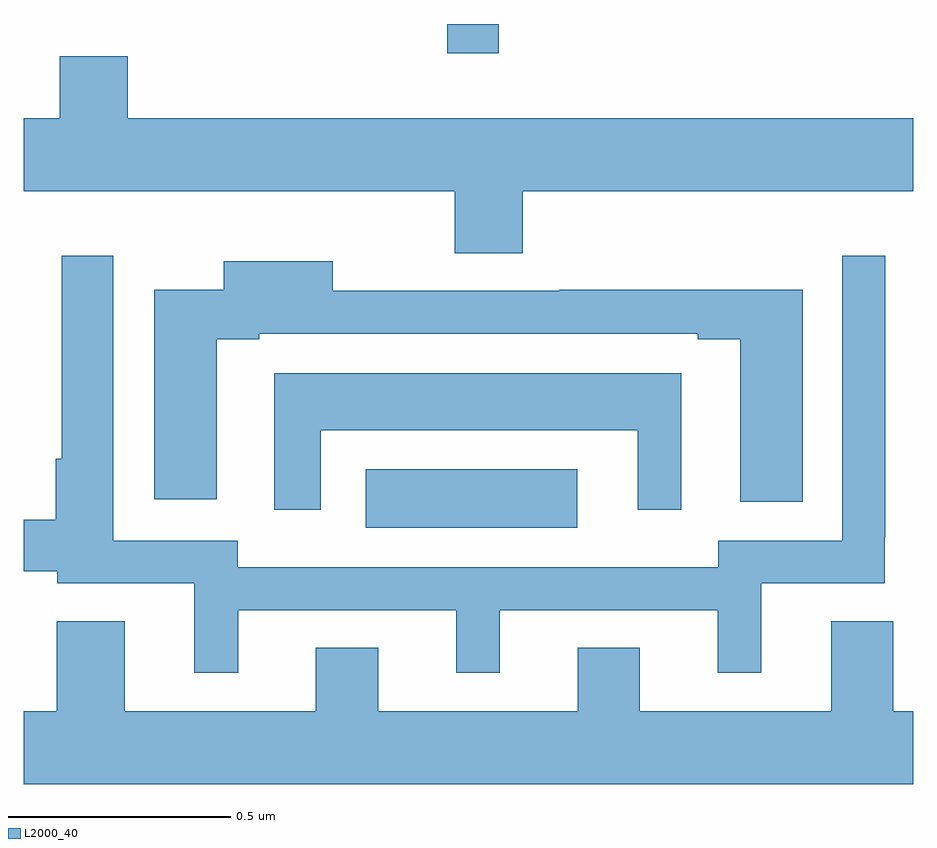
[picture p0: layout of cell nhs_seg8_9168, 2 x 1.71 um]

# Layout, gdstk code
import gdstk
lib = gdstk.Library(unit=1e-6, precision=1e-09)
def R(c, l, rs):  # rectangles x0, y0, x1, y1
    for r in rs: c.add(gdstk.rectangle(r[:2], r[2:], *l))
def P(c, l, *ps):  # polygons
    for p in ps: c.add(gdstk.Polygon(p, *l))
L2000_40 = (2000, 40)

nhs_seg8_9168 = lib.new_cell('nhs_seg8_9168')
R(nhs_seg8_9168, L2000_40, [(233.769,1091.768,234.244,1091.899), (233.952,1092.834,234.068,1092.9)])
P(nhs_seg8_9168, L2000_40, [(234.122,1092.524),(235,1092.524),(235,1092.688),(233.234,1092.688),(233.234,1092.827),(233.081,1092.827),(233.081,1092.688),(233,1092.688),(233,1092.524),(233.969,1092.524),(233.969,1092.385),(234.122,1092.385)],
  [(233.482,1091.583),(233.972,1091.583),(233.972,1091.442),(234.07,1091.442),(234.07,1091.583),(234.56,1091.583),(234.56,1091.442),(234.658,1091.442),(234.658,1091.643),(234.936,1091.643),(234.936,1091.746),(234.937,1091.746),(234.937,1092.379),(234.84,1092.379),(234.84,1091.739),(234.561,1091.739),(234.561,1091.679),(233.481,1091.679),(233.481,1091.739),(233.202,1091.739),(233.202,1092.379),(233.086,1092.379),(233.086,1091.923),(233.072,1091.923),(233.072,1091.786),(233,1091.786),(233,1091.67),(233.076,1091.67),(233.076,1091.643),(233.384,1091.643),(233.384,1091.442),(233.482,1091.442)],
  [(234.751,1092.303),(234.205,1092.303),(234.205,1092.3),(233.695,1092.3),(233.695,1092.367),(233.45,1092.367),(233.45,1092.303),(233.294,1092.303),(233.294,1091.832),(233.434,1091.832),(233.434,1092.192),(233.53,1092.192),(233.53,1092.204),(234.515,1092.204),(234.515,1092.192),(234.611,1092.192),(234.611,1091.826),(234.751,1091.826)],
  [(233.668,1091.987),(234.38,1091.987),(234.38,1091.808),(234.478,1091.808),(234.478,1092.115),(233.564,1092.115),(233.564,1091.808),(233.668,1091.808)],
  [(235,1091.356),(234.955,1091.356),(234.955,1091.558),(234.815,1091.558),(234.815,1091.356),(234.385,1091.356),(234.385,1091.498),(234.245,1091.498),(234.245,1091.356),(233.797,1091.356),(233.797,1091.498),(233.657,1091.498),(233.657,1091.356),(233.227,1091.356),(233.227,1091.558),(233.075,1091.558),(233.075,1091.356),(233,1091.356),(233,1091.192),(235,1091.192)])

lib.write_gds('nhs_seg8_9168.gds')
